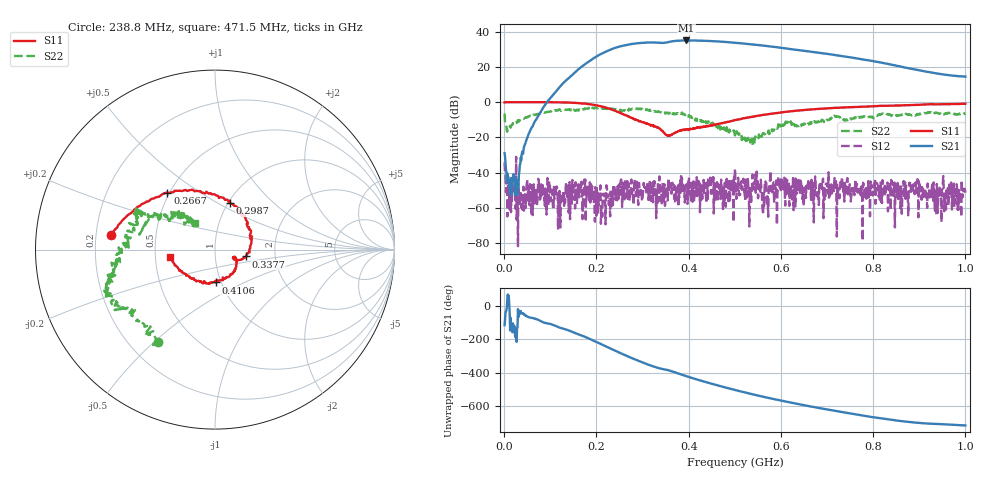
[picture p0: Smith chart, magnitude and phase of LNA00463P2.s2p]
! Created with skrf 1.9.0 (http://scikit-rf.org).
# Hz S RI R 50.0
!freq ReS11 ImS11 ReS21 ImS21 ReS12 ImS12 ReS22 ImS22
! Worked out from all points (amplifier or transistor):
!   1001 points, 1 MHz to 1 GHz, reference 50 ohm
!   highest |S21| = 35.0 dB at 394.6 MHz (marker M1)
!   |S21| within 3 dB of that: 257.4 MHz to 564.1 MHz (306.7 MHz wide, 74.7 % of centre)
!   unconditionally stable (mu >= 1): 221.9 MHz to 282.6 MHz; 282.9 MHz to 315.7 MHz; 336.7 MHz to end of sweep (the widest 3 of 41)
!   at 166.8 MHz: K = 0.54, MSG = 33.8 dB, |S12| = -47.8 dB
!   at 500.5 MHz: K = 1.01, MAG = 35.0 dB, |S12| = -37.6 dB
!   at 1 GHz: K = 4.87, MAG = 23.1 dB, |S12| = -51.4 dB
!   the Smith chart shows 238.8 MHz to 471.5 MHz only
!   S11 on the Smith chart (normalised r, x): 238.8 MHz: 0.26, +0.07; 266.7 MHz: 0.49, +0.37; 298.7 MHz: 1.02, +0.57; 337.7 MHz: 1.41, -0.11; 410.6 MHz: 0.94, -0.36; 471.5 MHz: 0.60, -0.05
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1000000  0.9843 -0.00704  -0.0159 -0.0321  -0.0113 0.0163  0.3644 0.3042
1.08892e8  0.5229 -0.8474  -0.836 -1.568  0.00159 -0.000816  0.4209 -0.3803
1.67833e8  -0.2298 -0.8957  -10.14 -0.3953  -0.00115 -0.00545  0.0256 -0.6396
2.08792e8  -0.6622 -0.4032  -15.49 16.84  -0.00096 0.00427  -0.2322 -0.6619
2.38762e8  -0.5806 0.0824  -2.216 33.91  -0.00353 0.00169  -0.3186 -0.5163
2.66734e8  -0.265 0.315  21.78 36.42  -0.00575 0.000434  -0.4585 -0.3361
2.98702e8  0.0847 0.2578  44.1 18.91  -0.00132 -0.000905  -0.5948 -0.2136
3.16684e8  0.1834 0.1237  49.03 3.779  0.00284 -0.00132  -0.5572 -0.1459
3.34666e8  0.1835 -0.0181  47.44 -10.28  -0.00151 -0.000338  -0.5491 -0.0301
3.37663e8  0.1729 -0.0379  46.69 -11.85  -0.00239 0.00238  -0.5186 -0.0328
3.67633e8  0.1171 -0.0542  44.25 -30.81  -0.00169 0.00412  -0.4364 0.1585
3.94606e8  0.0769 -0.1525  28.12 -48.81  -0.000362 0.0046  -0.4091 0.2042
4.1059e8  0.00331 -0.1828  15.52 -54.01  0.00219 0.00524  -0.2998 0.1833
4.39561e8  -0.1363 -0.1594  -6.974 -54.23  0.00189 0.00347  -0.1746 0.18
4.71529e8  -0.2497 -0.0414  -27.18 -44.27  0.00191 0.00201  -0.113 0.1465
5.005e8  -0.2889 0.1192  -38.81 -29.49  0.0132 -0.00103  -0.0908 0.0685
5.4046e8  -0.2289 0.3185  -42.35 -7.919  0.00355 0.000231  -0.0849 0.00547
5.84416e8  -0.0598 0.4777  -35.69 10.72  0.00425 -0.000268  -0.1502 -0.0664
6.67333e8  0.3291 0.5307  -12.38 23.59  0.000259 -0.00303  -0.265 -0.041
7.53247e8  0.6235 0.3655  4.448 17.85  -0.0021 -0.00107  -0.3316 0.0459
8.34166e8  0.7804 0.1473  8.966 8.008  -0.00082 -0.00278  -0.4276 0.1285
1e9  0.8174 -0.3803  5.296 0.5621  -0.00201 0.00179  -0.1816 0.4321
